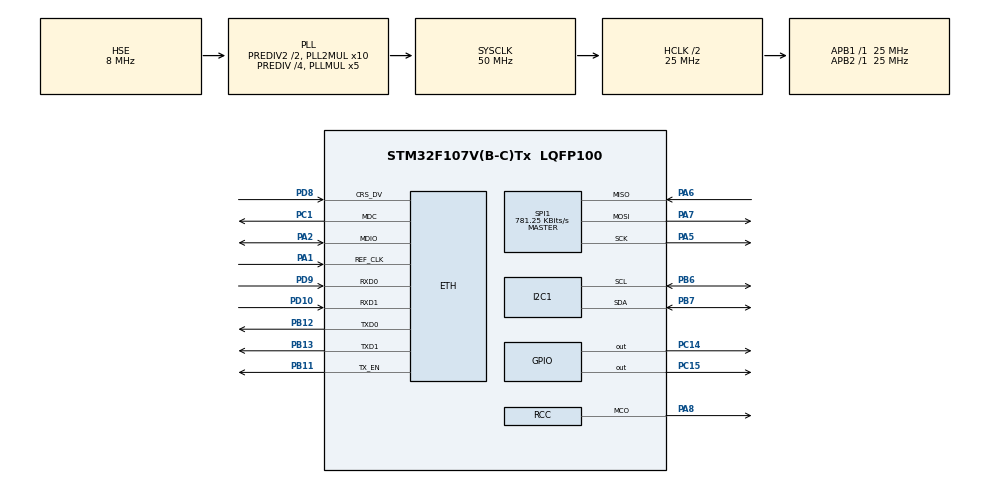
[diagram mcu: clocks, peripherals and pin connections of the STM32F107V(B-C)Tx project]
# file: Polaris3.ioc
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ETH.MediaInterface=ETH_MEDIA_INTERFACE_RMII
ETH.PHY_CONFIG_DELAY=0x0000FFFF
ETH.PHY_Name_RMII=userPHY
ETH.PHY_READ_TO=0x000FFFFF
ETH.PHY_RESET_DELAY=0x0000FFFF
ETH.PHY_WRITE_TO=0x000FFFFF
LWIP.GATEWAY_ADDRESS=223.255.000.000
LWIP.IP_ADDRESS=192.168.000.111
LWIP.LWIP_DHCP=0
LWIP.MEM_SIZE=10*1024
LWIP.NETMASK_ADDRESS=255.255.255.000
LWIP.Version=v2.0.3_Cube
Mcu.Family=STM32F1
Mcu.Name=STM32F107V(B-C)Tx
Mcu.Package=LQFP100
NVIC.ETH_IRQn=true\:0\:0\:false\:false\:true\:true\:true\:true
NVIC.PriorityGroup=NVIC_PRIORITYGROUP_4
OSC_IN.Mode=HSE-External-Oscillator
OSC_IN.Signal=RCC_OSC_IN
OSC_OUT.Mode=HSE-External-Oscillator
OSC_OUT.Signal=RCC_OSC_OUT
PA1.Mode=RMII
PA1.Signal=ETH_REF_CLK
PA2.Mode=RMII
PA2.Signal=ETH_MDIO
PA5.Mode=Full_Duplex_Master
PA5.Signal=SPI1_SCK
PA6.Mode=Full_Duplex_Master
PA6.Signal=SPI1_MISO
PA7.Mode=Full_Duplex_Master
PA7.Signal=SPI1_MOSI
PA8.Mode=Clock-out
PA8.Signal=RCC_MCO
PB11.Mode=RMII
PB11.Signal=ETH_TX_EN
PB12.Mode=RMII
PB12.Signal=ETH_TXD0
PB13.Mode=RMII
PB13.Signal=ETH_TXD1
PB6.Mode=I2C
PB6.Signal=I2C1_SCL
PB7.Mode=I2C
PB7.Signal=I2C1_SDA
PC1.Mode=RMII
PC1.Signal=ETH_MDC
PC14-OSC32_IN.Signal=GPIO_Output
PC15-OSC32_OUT.Signal=GPIO_Output
PD10.Mode=RMII
PD10.Signal=ETH_RXD1
PD8.Mode=RMII
PD8.Signal=ETH_CRS_DV
PD9.Mode=RMII
PD9.Signal=ETH_RXD0
ProjectManager.HeapSize=0x200
ProjectManager.StackSize=0x400
ProjectManager.TargetToolchain=STM32CubeIDE
RCC.AHBCLKDivider=RCC_SYSCLK_DIV2
RCC.AHBFreq_Value=25000000
RCC.APB1Freq_Value=25000000
RCC.APB1TimFreq_Value=25000000
RCC.APB2Freq_Value=25000000
RCC.APB2TimFreq_Value=25000000
RCC.HCLKFreq_Value=25000000
RCC.HSEDivPLL=RCC_HSE_PREDIV_DIV4
RCC.PLL2Mul=RCC_PLL2_MUL10
RCC.PLLMUL=RCC_PLL_MUL5
RCC.PLLSourceVirtual=RCC_PLLSOURCE_HSE
RCC.Prediv1Source=RCC_PREDIV1_SOURCE_PLL2
RCC.Prediv2=RCC_HSE_PREDIV2_DIV2
RCC.RCC_MCOSource=RCC_MCO1SOURCE_HSE
RCC.SYSCLKFreq_VALUE=50000000
RCC.SYSCLKSource=RCC_SYSCLKSOURCE_PLLCLK
RCC.USBFreq_Value=33333333.333333332
SPI1.BaudRatePrescaler=SPI_BAUDRATEPRESCALER_32
SPI1.CLKPhase=SPI_PHASE_2EDGE
SPI1.CLKPolarity=SPI_POLARITY_HIGH
SPI1.CalculateBaudRate=781.25 KBits/s
SPI1.Direction=SPI_DIRECTION_2LINES
SPI1.Mode=SPI_MODE_MASTER
SPI1.VirtualType=VM_MASTER
VP_LWIP_VS_Enabled.Mode=Enabled
board=custom

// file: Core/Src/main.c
/* USER CODE BEGIN Header */
/**
  ******************************************************************************
  * @file           : main.c
  * @brief          : Main program body
  ******************************************************************************
  * @attention
  *
  * Copyright (c) 2023 STMicroelectronics.
  * All rights reserved.
  *
  * This software is licensed under terms that can be found in the LICENSE file
  * in the root directory of this software component.
  * If no LICENSE file comes with this software, it is provided AS-IS.
  *
  ******************************************************************************
  */
/* USER CODE END Header */
#include "main.h"
#include "lwip.h"

/* USER CODE BEGIN Includes */
#include "udpServerRAW.h"

/* USER CODE END Includes */

I2C_HandleTypeDef hi2c1;

SPI_HandleTypeDef hspi1;

void SystemClock_Config(void);
static void MX_GPIO_Init(void);
static void MX_I2C1_Init(void);
static void MX_SPI1_Init(void);

/* USER CODE BEGIN 0 */

extern struct netif gnetif;
uint8_t *LED_data;
uint16_t LED_data_size;
uint8_t new_data;

/* USER CODE END 0 */

int main(void)
{

  /* MCU Configuration--------------------------------------------------------*/

  /* Reset of all peripherals, Initializes the Flash interface and the Systick. */
  HAL_Init();

  /* Configure the system clock */
  SystemClock_Config();

  /* Initialize all configured peripherals */
  MX_GPIO_Init();
  MX_I2C1_Init();
  MX_SPI1_Init();
  MX_LWIP_Init();
  /* USER CODE BEGIN 2 */
  udpServer_init();
  LED_data_size = 0;
  LED_data = 0;

  /* USER CODE END 2 */

  /* Infinite loop */
  /* USER CODE BEGIN WHILE */
  HAL_GPIO_WritePin(GPIOC, GPIO_PIN_15, GPIO_PIN_SET);
  HAL_GPIO_WritePin(GPIOC, GPIO_PIN_14, GPIO_PIN_RESET);

  while (1)
  {
    /* USER CODE END WHILE */

    /* USER CODE BEGIN 3 */
	HAL_GPIO_WritePin(GPIOC, GPIO_PIN_15, GPIO_PIN_RESET);
	HAL_GPIO_WritePin(GPIOC, GPIO_PIN_14, GPIO_PIN_SET);

	ethernetif_input(&gnetif);
	sys_check_timeouts();

	if(new_data)
	{
		HAL_Delay(1);
		HAL_StatusTypeDef errorcode = HAL_SPI_Transmit(&hspi1, LED_data, LED_data_size, 100);
		new_data = 0;
	}

	HAL_GPIO_WritePin(GPIOC, GPIO_PIN_15, GPIO_PIN_RESET);
	HAL_GPIO_WritePin(GPIOC, GPIO_PIN_14, GPIO_PIN_RESET);
  }
  /* USER CODE END 3 */
}

void SystemClock_Config(void)
{
  RCC_OscInitTypeDef RCC_OscInitStruct = {0};
  RCC_ClkInitTypeDef RCC_ClkInitStruct = {0};

  /** Initializes the RCC Oscillators according to the specified parameters
  * in the RCC_OscInitTypeDef structure.
  */
  RCC_OscInitStruct.OscillatorType = RCC_OSCILLATORTYPE_HSE;
  RCC_OscInitStruct.HSEState = RCC_HSE_ON;
  RCC_OscInitStruct.HSEPredivValue = RCC_HSE_PREDIV_DIV4;
  RCC_OscInitStruct.HSIState = RCC_HSI_ON;
  RCC_OscInitStruct.Prediv1Source = RCC_PREDIV1_SOURCE_PLL2;
  RCC_OscInitStruct.PLL.PLLState = RCC_PLL_ON;
  RCC_OscInitStruct.PLL.PLLSource = RCC_PLLSOURCE_HSE;
  RCC_OscInitStruct.PLL.PLLMUL = RCC_PLL_MUL5;
  RCC_OscInitStruct.PLL2.PLL2State = RCC_PLL2_ON;
  RCC_OscInitStruct.PLL2.PLL2MUL = RCC_PLL2_MUL10;
  RCC_OscInitStruct.PLL2.HSEPrediv2Value = RCC_HSE_PREDIV2_DIV2;
  if (HAL_RCC_OscConfig(&RCC_OscInitStruct) != HAL_OK)
  {
    Error_Handler();
  }

  /** Initializes the CPU, AHB and APB buses clocks
  */
  RCC_ClkInitStruct.ClockType = RCC_CLOCKTYPE_HCLK|RCC_CLOCKTYPE_SYSCLK
                              |RCC_CLOCKTYPE_PCLK1|RCC_CLOCKTYPE_PCLK2;
  RCC_ClkInitStruct.SYSCLKSource = RCC_SYSCLKSOURCE_PLLCLK;
  RCC_ClkInitStruct.AHBCLKDivider = RCC_SYSCLK_DIV2;
  RCC_ClkInitStruct.APB1CLKDivider = RCC_HCLK_DIV1;
  RCC_ClkInitStruct.APB2CLKDivider = RCC_HCLK_DIV1;

  if (HAL_RCC_ClockConfig(&RCC_ClkInitStruct, FLASH_LATENCY_2) != HAL_OK)
  {
    Error_Handler();
  }
  HAL_RCC_MCOConfig(RCC_MCO, RCC_MCO1SOURCE_HSE, RCC_MCODIV_1);

  /** Configure the Systick interrupt time
  */
  __HAL_RCC_PLLI2S_ENABLE();
}

static void MX_I2C1_Init(void)
{

  hi2c1.Instance = I2C1;
  hi2c1.Init.ClockSpeed = 100000;
  hi2c1.Init.DutyCycle = I2C_DUTYCYCLE_2;
  hi2c1.Init.OwnAddress1 = 0;
  hi2c1.Init.AddressingMode = I2C_ADDRESSINGMODE_7BIT;
  hi2c1.Init.DualAddressMode = I2C_DUALADDRESS_DISABLE;
  hi2c1.Init.OwnAddress2 = 0;
  hi2c1.Init.GeneralCallMode = I2C_GENERALCALL_DISABLE;
  hi2c1.Init.NoStretchMode = I2C_NOSTRETCH_DISABLE;
  if (HAL_I2C_Init(&hi2c1) != HAL_OK)
  {
    Error_Handler();
  }

}

static void MX_SPI1_Init(void)
{

  /* SPI1 parameter configuration*/
  hspi1.Instance = SPI1;
  hspi1.Init.Mode = SPI_MODE_MASTER;
  hspi1.Init.Direction = SPI_DIRECTION_2LINES;
  hspi1.Init.DataSize = SPI_DATASIZE_8BIT;
  hspi1.Init.CLKPolarity = SPI_POLARITY_HIGH;
  hspi1.Init.CLKPhase = SPI_PHASE_2EDGE;
  hspi1.Init.NSS = SPI_NSS_SOFT;
  hspi1.Init.BaudRatePrescaler = SPI_BAUDRATEPRESCALER_32;
  hspi1.Init.FirstBit = SPI_FIRSTBIT_MSB;
  hspi1.Init.TIMode = SPI_TIMODE_DISABLE;
  hspi1.Init.CRCCalculation = SPI_CRCCALCULATION_DISABLE;
  hspi1.Init.CRCPolynomial = 10;
  if (HAL_SPI_Init(&hspi1) != HAL_OK)
  {
    Error_Handler();
  }

}

static void MX_GPIO_Init(void)
{
  GPIO_InitTypeDef GPIO_InitStruct = {0};

  /* GPIO Ports Clock Enable */
  __HAL_RCC_GPIOC_CLK_ENABLE();
  __HAL_RCC_GPIOA_CLK_ENABLE();
  __HAL_RCC_GPIOB_CLK_ENABLE();
  __HAL_RCC_GPIOD_CLK_ENABLE();

  /*Configure GPIO pin Output Level */
  HAL_GPIO_WritePin(GPIOC, GPIO_PIN_14|GPIO_PIN_15, GPIO_PIN_RESET);

  /*Configure GPIO pins : PC14 PC15 */
  GPIO_InitStruct.Pin = GPIO_PIN_14|GPIO_PIN_15;
  GPIO_InitStruct.Mode = GPIO_MODE_OUTPUT_PP;
  GPIO_InitStruct.Pull = GPIO_NOPULL;
  GPIO_InitStruct.Speed = GPIO_SPEED_FREQ_LOW;
  HAL_GPIO_Init(GPIOC, &GPIO_InitStruct);

  /*Configure GPIO pin : PA8 */
  GPIO_InitStruct.Pin = GPIO_PIN_8;
  GPIO_InitStruct.Mode = GPIO_MODE_AF_PP;
  GPIO_InitStruct.Speed = GPIO_SPEED_FREQ_LOW;
  HAL_GPIO_Init(GPIOA, &GPIO_InitStruct);

}

void Error_Handler(void)
{
  __disable_irq();
  while (1)
  {
  }
}
